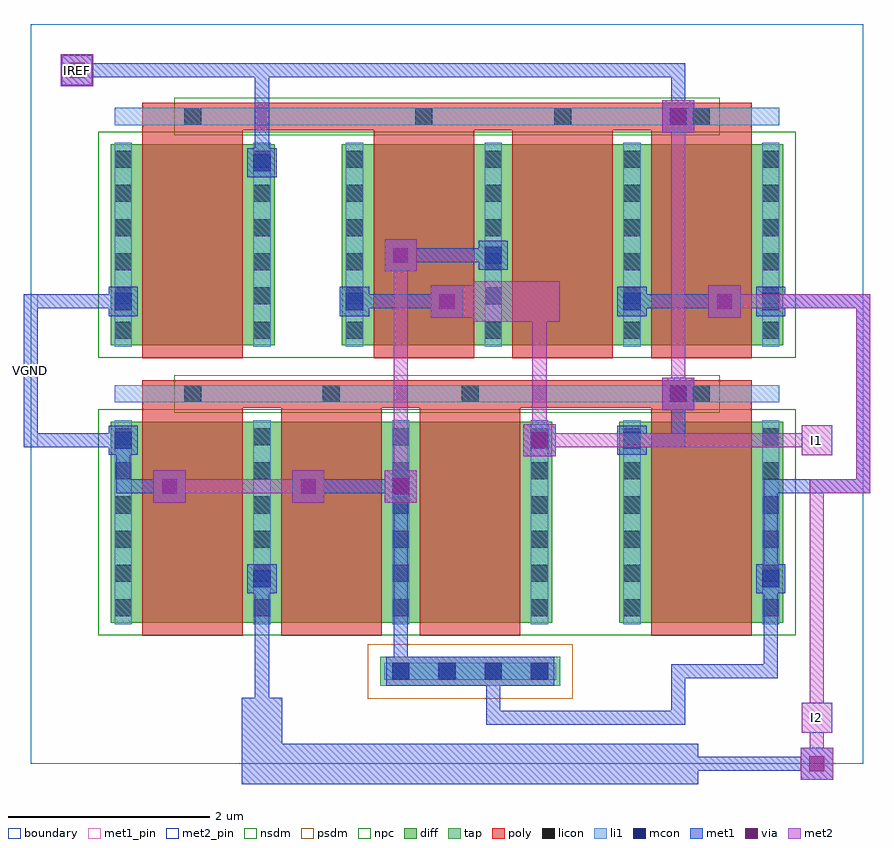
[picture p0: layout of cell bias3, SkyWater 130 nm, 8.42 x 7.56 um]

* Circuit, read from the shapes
.subckt bias3 I1 I2 IREF VGND
XM1 I2 IREF VGND VGND sky130_fd_pr__nfet_01v8 w=2 l=1 m=4
XM2 IREF IREF VGND VGND sky130_fd_pr__nfet_01v8 w=2 l=1 m=2
XM3 VGND IREF I1 VGND sky130_fd_pr__nfet_01v8 w=2 l=1 m=2
.ends

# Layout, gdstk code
import gdstk
lib = gdstk.Library(unit=1e-6, precision=1e-09)
def R(c, l, rs):  # rectangles x0, y0, x1, y1
    for r in rs: c.add(gdstk.rectangle(r[:2], r[2:], *l))
def A(c, l, x, y, w, h, nx, ny, dx, dy):  # array of equal rectangles
    R(c, l, [(x+i*dx, y+j*dy, x+i*dx+w, y+j*dy+h) for i in range(nx) for j in range(ny)])
diff = (65, 20)
tap = (65, 44)
poly = (66, 20)
licon = (66, 44)
li1 = (67, 20)
mcon = (67, 44)
met1_pin = (68, 16)
met1 = (68, 20)
via = (68, 44)
met2_pin = (69, 16)
met2 = (69, 20)
nsdm = (93, 44)
psdm = (94, 20)
npc = (95, 20)
boundary = (235, 4)

bias3 = lib.new_cell('bias3')
R(bias3, diff, [(0.795,1.405,5.185,3.405), (5.855,1.405,7.485,3.405), (0.795,4.165,2.425,6.165), (3.095,4.165,7.485,6.165)])
R(bias3, tap, [(3.475,0.775,5.265,1.065)])
A(bias3, poly, 1.11, 1.275, 1, 2.405, 3, 1, 1.38, 0)
A(bias3, poly, 3.41, 4.035, 1, 2.405, 3, 1, 1.38, 0)
R(bias3, poly, [(6.17,1.275,7.17,3.68), (1.11,3.545,7.17,3.815), (1.11,4.035,2.11,6.44), (1.11,6.305,7.17,6.575)])
A(bias3, licon, 3.595, 0.835, 0.17, 0.17, 4, 1, 0.46, 0)
A(bias3, licon, 0.835, 1.47, 0.17, 0.17, 4, 6, 1.38, 0.34)
A(bias3, licon, 5.895, 1.47, 0.17, 0.17, 1, 6, 0, 0.34)
A(bias3, licon, 7.275, 1.47, 0.17, 0.17, 1, 6, 0, 0.34)
A(bias3, licon, 1.525, 3.595, 0.17, 0.17, 3, 1, 1.38, 0)
A(bias3, licon, 0.835, 4.23, 0.17, 0.17, 1, 6, 0, 0.34)
A(bias3, licon, 2.215, 4.23, 0.17, 0.17, 1, 6, 0, 0.34)
A(bias3, licon, 3.135, 4.23, 0.17, 0.17, 4, 6, 1.38, 0.34)
A(bias3, licon, 3.825, 6.355, 0.17, 0.17, 3, 1, 1.38, 0)
R(bias3, licon, [(6.585,3.595,6.755,3.765), (1.525,6.355,1.695,6.525)])
A(bias3, li1, 0.835, 1.39, 0.17, 2.03, 4, 1, 1.38, 0)
A(bias3, li1, 3.135, 4.15, 0.17, 2.03, 4, 1, 1.38, 0)
R(bias3, li1, [(3.515,0.835,5.225,1.005), (5.895,1.39,6.065,3.42), (7.275,1.39,7.445,3.42), (0.835,3.595,7.445,3.765), (0.835,4.15,1.005,6.18), (2.215,4.15,2.385,6.18), (0.835,6.355,7.445,6.525)])
A(bias3, mcon, 3.595, 0.835, 0.17, 0.17, 4, 1, 0.46, 0)
R(bias3, mcon, [(2.215,1.755,2.385,1.925), (7.275,1.755,7.445,1.925), (3.595,2.675,3.765,2.845), (0.835,3.135,1.005,3.305), (4.975,3.135,5.145,3.305), (5.895,3.135,6.065,3.305), (6.355,3.595,6.525,3.765), (0.835,4.515,1.005,4.685), (3.135,4.515,3.305,4.685), (5.895,4.515,6.065,4.685), (7.275,4.515,7.445,4.685), (4.515,4.975,4.685,5.145), (2.215,5.895,2.385,6.065), (6.355,6.355,6.525,6.525)])
R(bias3, met1_pin, [(-0.07,3.15,0.07,4.67)])
R(bias3, met1, [(2.1,-0.2,2.5,0.66), (2.1,-0.2,6.64,0.2), (7.66,-0.16,7.98,0.16), (6.37,-0.07,7.89,0.07), (2.23,0.39,2.37,1.91), (4.53,0.39,4.67,0.99), (4.53,0.39,6.51,0.53), (6.37,0.39,6.51,0.99), (3.535,0.775,5.205,1.065), (3.61,0.85,4.67,0.99), (3.61,0.85,3.75,0.99), (3.61,0.85,3.75,2.83), (6.37,0.85,7.43,0.99), (7.29,0.85,7.43,1.91), (2.155,1.695,2.445,1.985), (7.215,1.695,7.505,1.985), (7.29,1.77,7.43,2.83), (1.22,2.6,1.54,2.92), (2.6,2.6,2.92,2.92), (3.52,2.6,3.84,2.92), (3.535,2.615,3.825,2.905), (0.85,2.69,1.45,2.83), (0.85,2.69,0.99,3.29), (2.69,2.69,3.75,2.83), (7.29,2.69,8.35,2.83), (8.21,2.69,8.35,4.67), (4.9,3.06,5.22,3.38), (0.775,3.075,1.065,3.365), (4.915,3.075,5.205,3.365), (5.835,3.075,6.125,3.365), (-0.07,3.15,0.99,3.29), (-0.07,3.15,0.07,4.67), (5.91,3.15,6.51,3.29), (6.37,3.15,6.51,3.75), (6.28,3.52,6.6,3.84), (6.295,3.535,6.585,3.825), (3.98,4.44,4.3,4.76), (6.74,4.44,7.06,4.76), (0.775,4.455,1.065,4.745), (3.075,4.455,3.365,4.745), (5.835,4.455,6.125,4.745), (7.215,4.455,7.505,4.745), (-0.07,4.53,0.99,4.67), (3.15,4.53,4.21,4.67), (5.91,4.53,6.97,4.67), (7.29,4.53,8.35,4.67), (3.52,4.9,3.84,5.22), (4.455,4.915,4.745,5.205), (3.61,4.99,4.67,5.13), (2.155,5.835,2.445,6.125), (2.23,5.91,2.37,6.97), (6.28,6.28,6.6,6.6), (6.295,6.295,6.585,6.585), (6.37,6.37,6.51,6.97), (0.3,6.74,0.62,7.06), (0.39,6.83,2.37,6.97), (2.23,6.83,6.51,6.97)])
R(bias3, via, [(7.745,-0.075,7.895,0.075), (1.305,2.685,1.455,2.835), (2.685,2.685,2.835,2.835), (3.605,2.685,3.755,2.835), (4.985,3.145,5.135,3.295), (6.365,3.605,6.515,3.755), (4.065,4.525,4.215,4.675), (6.825,4.525,6.975,4.675), (3.605,4.985,3.755,5.135), (6.365,6.365,6.515,6.515), (0.385,6.825,0.535,6.975)])
R(bias3, met2_pin, [(7.67,0.31,7.97,0.61), (7.67,3.07,7.97,3.37), (0.31,6.75,0.61,7.05)])
R(bias3, met2, [(7.66,-0.16,7.98,0.16), (7.75,-0.07,7.89,0.53), (7.67,0.31,7.97,0.61), (7.75,0.39,7.89,0.53), (7.75,0.39,7.89,2.83), (1.22,2.6,1.54,2.92), (2.6,2.6,2.92,2.92), (3.52,2.6,3.84,2.92), (1.31,2.69,2.83,2.83), (3.61,2.69,3.75,5.13), (7.75,2.69,8.35,2.83), (8.21,2.69,8.35,4.67), (4.9,3.06,5.22,3.38), (7.67,3.07,7.97,3.37), (4.99,3.15,7.89,3.29), (4.99,3.15,5.13,4.67), (7.75,3.15,7.89,3.29), (6.28,3.52,6.6,3.84), (6.37,3.61,6.51,6.51), (4.4,4.4,5.26,4.8), (3.98,4.44,4.3,4.76), (4.3,4.44,4.4,4.76), (6.74,4.44,7.06,4.76), (4.07,4.53,4.67,4.67), (6.83,4.53,8.35,4.67), (3.52,4.9,3.84,5.22), (6.28,6.28,6.6,6.6), (0.3,6.74,0.62,7.06), (0.31,6.75,0.61,7.05), (0.39,6.83,0.53,6.97)])
R(bias3, nsdm, [(0.67,1.28,7.61,3.53), (0.67,4.04,7.61,6.29)])
R(bias3, psdm, [(3.35,0.65,5.39,1.19)])
R(bias3, npc, [(1.425,3.495,6.855,3.865), (1.425,6.255,6.855,6.625)])
R(bias3, boundary, [(0,0,8.28,7.36)])
bias3.add(gdstk.Label('VGND', (0,3.91), layer=68, texttype=5))
bias3.add(gdstk.Label('IREF', (0.46,6.9), layer=69, texttype=5))
bias3.add(gdstk.Label('I1', (7.82,3.22), layer=69, texttype=5))
bias3.add(gdstk.Label('I2', (7.82,0.46), layer=69, texttype=5))
bias3.add(gdstk.Label('VGND', (0,3.91), layer=68, texttype=16))
bias3.add(gdstk.Label('IREF', (0.46,6.9), layer=69, texttype=16))
bias3.add(gdstk.Label('I1', (7.82,3.22), layer=69, texttype=16))
bias3.add(gdstk.Label('I2', (7.82,0.46), layer=69, texttype=16))

lib.write_gds('bias3.gds')
